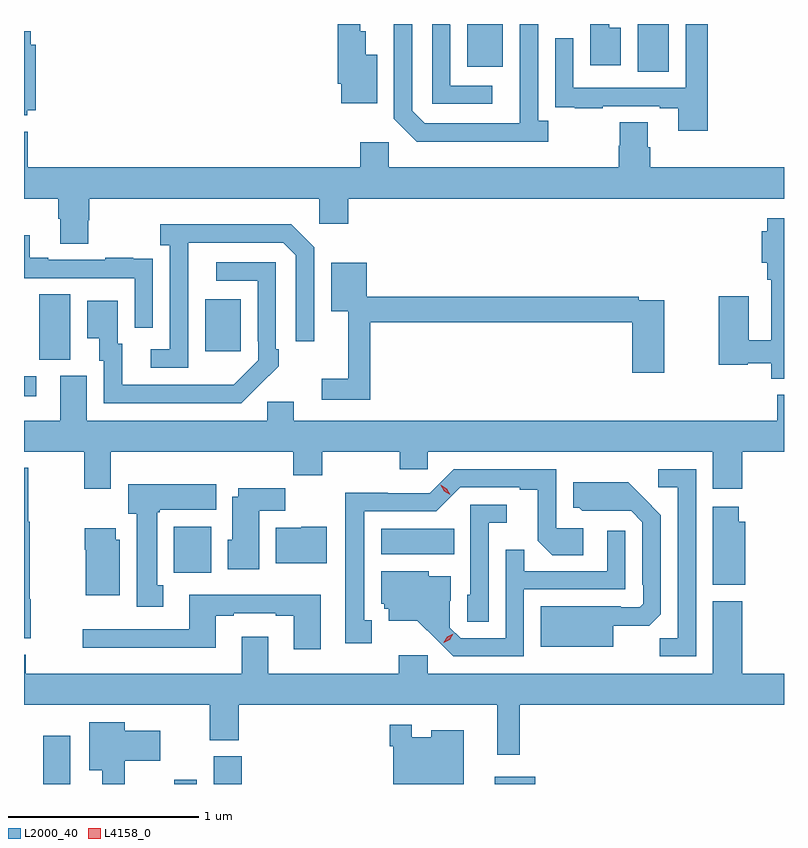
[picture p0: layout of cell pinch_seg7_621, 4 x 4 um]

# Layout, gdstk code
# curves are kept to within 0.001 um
import gdstk
lib = gdstk.Library(unit=1e-6, precision=1e-09)
def R(c, l, rs):  # rectangles x0, y0, x1, y1
    for r in rs: c.add(gdstk.rectangle(r[:2], r[2:], *l))
def P(c, l, *ps):  # polygons
    for p in ps: c.add(gdstk.Polygon(p, *l))
L2000_40 = (2000, 40)
L4158_0 = (4158, 0)

pinch_seg7_621 = lib.new_cell('pinch_seg7_621')
R(pinch_seg7_621, L2000_40, [(135.815,1017.515,135.958,1017.769), (136.506,1017.515,136.624,1017.538), (136.712,1017.515,136.859,1017.66), (138.191,1017.515,138.406,1017.553), (136.502,1018.628,136.699,1018.87), (137.594,1018.724,137.978,1018.858), (135.714,1019.556,135.778,1019.661), (135.794,1019.749,135.958,1020.092), (136.667,1019.793,136.855,1020.067), (138.944,1021.264,139.108,1021.515), (138.047,1021.289,138.235,1021.515)])
P(pinch_seg7_621, L2000_40, [(138.472,1021.006),(138.42,1021.006),(138.42,1021.515),(138.324,1021.515),(138.323,1020.993),(137.823,1020.993),(137.757,1021.059),(137.757,1021.513),(137.661,1021.513),(137.661,1021.017),(137.782,1020.896),(138.472,1020.896)],
  [(137.572,1021.354),(137.512,1021.354),(137.512,1021.477),(137.483,1021.477),(137.483,1021.515),(137.365,1021.515),(137.365,1021.201),(137.384,1021.201),(137.384,1021.097),(137.572,1021.097)],
  [(139.313,1021.515),(139.197,1021.515),(139.197,1021.179),(138.606,1021.179),(138.606,1021.441),(138.51,1021.441),(138.51,1021.186),(138.511,1021.186),(138.511,1021.077),(138.613,1021.077),(138.613,1021.071),(138.761,1021.071),(138.761,1021.083),(139.061,1021.083),(139.061,1021.071),(139.157,1021.071),(139.157,1020.954),(139.313,1020.954)],
  [(138.178,1021.191),(137.958,1021.191),(137.958,1021.511),(137.955,1021.511),(137.955,1021.515),(137.862,1021.515),(137.862,1021.095),(138.178,1021.095)],
  [(138.856,1021.495),(138.793,1021.495),(138.793,1021.515),(138.695,1021.515),(138.695,1021.299),(138.856,1021.299)],
  [(135.732,1021.061),(135.775,1021.061),(135.775,1021.405),(135.749,1021.405),(135.749,1021.477),(135.714,1021.477),(135.714,1021.034),(135.732,1021.034)],
  [(136.053,1020.483),(136.058,1020.483),(136.058,1020.596),(137.268,1020.596),(137.268,1020.465),(137.42,1020.465),(137.42,1020.596),(139.714,1020.596),(139.714,1020.76),(139.01,1020.76),(139.01,1020.866),(138.997,1020.866),(138.997,1020.998),(138.85,1020.998),(138.85,1020.873),(138.845,1020.873),(138.845,1020.76),(137.634,1020.76),(137.634,1020.892),(137.483,1020.892),(137.483,1020.76),(135.734,1020.76),(135.734,1020.949),(135.714,1020.949),(135.714,1020.596),(135.893,1020.596),(135.893,1020.49),(135.905,1020.49),(135.905,1020.358),(136.053,1020.358)],
  [(139.714,1020.493),(139.627,1020.493),(139.627,1020.424),(139.598,1020.424),(139.598,1020.259),(139.627,1020.259),(139.627,1020.17),(139.647,1020.17),(139.647,1019.851),(139.528,1019.851),(139.528,1020.082),(139.37,1020.082),(139.37,1019.722),(139.524,1019.722),(139.524,1019.73),(139.647,1019.73),(139.647,1019.649),(139.714,1019.649)],
  [(136.578,1020.163),(136.579,1020.363),(137.079,1020.363),(137.145,1020.297),(137.145,1019.844),(137.241,1019.844),(137.241,1020.339),(137.12,1020.46),(136.431,1020.46),(136.431,1020.35),(136.482,1020.35),(136.482,1019.802),(136.38,1019.802),(136.38,1019.706),(136.578,1019.706)],
  [(136.392,1020.17),(136.391,1020.17),(136.391,1020.279),(136.289,1020.279),(136.289,1020.286),(136.141,1020.286),(136.141,1020.273),(135.841,1020.273),(135.841,1020.286),(135.745,1020.286),(135.745,1020.403),(135.714,1020.403),(135.714,1020.177),(136.296,1020.177),(136.296,1019.916),(136.392,1019.916)],
  [(136.949,1019.611),(136.95,1019.61),(137.055,1019.715),(137.055,1019.803),(137.04,1019.803),(137.04,1020.261),(136.725,1020.261),(136.725,1020.165),(136.944,1020.165),(136.944,1019.845),(136.947,1019.845),(136.947,1019.745),(136.819,1019.617),(136.231,1019.616),(136.231,1019.832),(136.207,1019.832),(136.207,1020.058),(136.046,1020.058),(136.046,1019.861),(136.109,1019.861),(136.109,1019.742),(136.134,1019.742),(136.134,1019.52),(136.858,1019.52)],
  [(137.537,1019.944),(138.914,1019.944),(138.914,1019.679),(139.084,1019.679),(139.084,1020.06),(138.95,1020.06),(138.95,1020.08),(137.517,1020.08),(137.517,1020.259),(137.33,1020.259),(137.33,1020.002),(137.42,1020.002),(137.42,1019.647),(137.28,1019.647),(137.28,1019.538),(137.537,1019.538)],
  [(137.131,1019.14),(137.283,1019.14),(137.283,1019.264),(137.692,1019.264),(137.692,1019.171),(137.838,1019.171),(137.838,1019.264),(139.34,1019.264),(139.34,1019.07),(139.493,1019.07),(139.493,1019.264),(139.714,1019.264),(139.714,1019.564),(139.679,1019.564),(139.679,1019.428),(137.134,1019.428),(137.134,1019.526),(136.995,1019.526),(136.995,1019.428),(136.045,1019.428),(136.045,1019.664),(135.905,1019.664),(135.905,1019.428),(135.714,1019.428),(135.714,1019.264),(136.031,1019.264),(136.031,1019.07),(136.171,1019.07),(136.171,1019.264),(137.131,1019.264)],
  [(135.749,1018.487),(135.744,1018.487),(135.744,1018.896),(135.736,1018.896),(135.736,1019.179),(135.714,1019.179),(135.714,1018.283),(135.749,1018.283)],
  [(139.251,1019.172),(139.053,1019.172),(139.053,1019.076),(139.155,1019.076),(139.155,1018.283),(139.06,1018.283),(139.06,1018.188),(139.251,1018.188)],
  [(137.545,1018.377),(137.506,1018.377),(137.506,1018.95),(137.883,1018.95),(138.009,1019.076),(138.323,1019.076),(138.323,1019.064),(138.417,1019.064),(138.417,1018.796),(138.493,1018.72),(138.658,1018.72),(138.658,1018.86),(138.516,1018.86),(138.516,1019.172),(137.976,1019.172),(137.85,1019.046),(137.628,1019.046),(137.628,1019.048),(137.405,1019.048),(137.405,1018.257),(137.545,1018.257)],
  [(138.814,1018.349),(139.006,1018.349),(139.065,1018.408),(139.065,1018.93),(138.893,1019.104),(138.605,1019.104),(138.605,1018.968),(138.636,1018.968),(138.652,1018.952),(138.909,1018.953),(138.969,1018.893),(138.969,1018.564),(138.972,1018.564),(138.972,1018.464),(138.954,1018.446),(138.854,1018.446),(138.854,1018.45),(138.434,1018.45),(138.434,1018.238),(138.814,1018.238)],
  [(136.447,1018.562),(136.414,1018.562),(136.414,1018.945),(136.428,1018.945),(136.428,1018.958),(136.726,1018.958),(136.726,1019.092),(136.262,1019.092),(136.262,1018.938),(136.307,1018.938),(136.307,1018.449),(136.447,1018.449)],
  [(136.951,1018.952),(137.09,1018.952),(137.09,1019.071),(136.841,1019.071),(136.841,1019.026),(136.811,1019.026),(136.811,1018.8),(136.787,1018.8),(136.787,1018.646),(136.951,1018.646)],
  [(138.159,1018.889),(138.256,1018.889),(138.256,1018.986),(138.063,1018.986),(138.063,1018.512),(138.048,1018.512),(138.048,1018.369),(138.159,1018.369)],
  [(139.51,1018.894),(139.475,1018.894),(139.475,1018.975),(139.34,1018.975),(139.34,1018.565),(139.51,1018.565)],
  [(137.308,1018.87),(137.172,1018.87),(137.172,1018.864),(137.039,1018.864),(137.039,1018.676),(137.308,1018.676)],
  [(136.219,1018.8),(136.198,1018.8),(136.198,1018.861),(136.033,1018.861),(136.033,1018.748),(136.04,1018.748),(136.04,1018.508),(136.219,1018.508)],
  [(138.345,1018.539),(138.879,1018.539),(138.879,1018.849),(138.783,1018.849),(138.783,1018.635),(138.347,1018.635),(138.347,1018.748),(138.249,1018.748),(138.249,1018.281),(138.012,1018.281),(137.955,1018.338),(137.955,1018.48),(137.959,1018.48),(137.959,1018.609),(137.844,1018.609),(137.844,1018.636),(137.594,1018.636),(137.594,1018.464),(137.61,1018.464),(137.61,1018.437),(137.633,1018.437),(137.633,1018.373),(137.785,1018.373),(137.972,1018.188),(138.345,1018.188)],
  [(137.275,1018.51),(136.583,1018.51),(136.583,1018.329),(136.023,1018.329),(136.023,1018.232),(136.723,1018.232),(136.723,1018.401),(136.819,1018.401),(136.819,1018.413),(137.039,1018.413),(137.039,1018.401),(137.135,1018.401),(137.135,1018.224),(137.275,1018.224)],
  [(138.323,1017.932),(139.714,1017.932),(139.714,1018.096),(139.493,1018.096),(139.493,1018.477),(139.34,1018.477),(139.34,1018.096),(137.838,1018.096),(137.838,1018.192),(137.687,1018.192),(137.687,1018.096),(136.999,1018.096),(136.999,1018.291),(136.859,1018.291),(136.859,1018.096),(135.722,1018.096),(135.722,1018.195),(135.714,1018.195),(135.714,1017.932),(136.691,1017.932),(136.691,1017.745),(136.844,1017.745),(136.844,1017.932),(138.206,1017.932),(138.206,1017.669),(138.323,1017.669)],
  [(136.243,1017.638),(136.432,1017.638),(136.432,1017.796),(136.243,1017.796),(136.243,1017.841),(136.058,1017.841),(136.058,1017.587),(136.127,1017.587),(136.127,1017.515),(136.243,1017.515)],
  [(138.028,1017.799),(137.858,1017.799),(137.858,1017.76),(137.754,1017.76),(137.754,1017.826),(137.638,1017.826),(137.638,1017.713),(137.658,1017.713),(137.658,1017.515),(138.028,1017.515)])
P(pinch_seg7_621, L4158_0, [(137.923,1018.259),(137.923,1018.26),(137.941,1018.29),(137.972,1018.305),(137.972,1018.305),(137.972,1018.305),(137.954,1018.275),(137.924,1018.259)],
  [(137.957,1019.037),(137.925,1019.056),(137.907,1019.088),(137.907,1019.089),(137.907,1019.089),(137.939,1019.07),(137.957,1019.038),(137.957,1019.037)])

lib.write_gds('pinch_seg7_621.gds')
